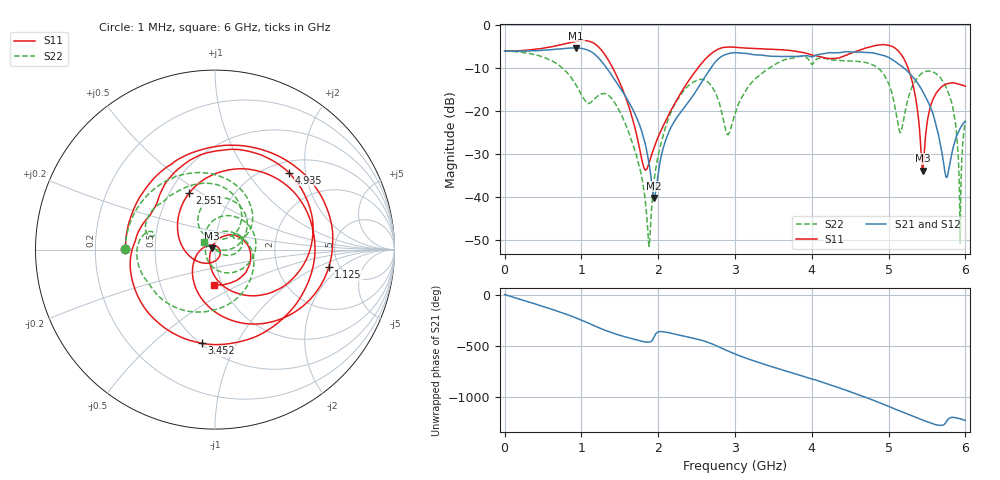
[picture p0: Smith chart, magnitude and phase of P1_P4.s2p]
! P1-P4  26-Dec-22  12:51:00
! Ref Plane: 0.000 mm
# MHZ S MA R  50
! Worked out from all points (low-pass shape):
!   10001 points, 1 MHz to 6 GHz, reference 50 ohm
!   highest |S21| = -5.30 dB at 934.4 MHz (marker M1); lowest = -40.3 dB at 1.948 GHz (marker M2)
!   |S21| within 3 dB of the highest: start of sweep to 1.258 GHz; 2.757 GHz to 5.071 GHz (2.313 GHz wide, 59.1 % of centre)
!   lowest |S11| = -33.9 dB at 5.443 GHz (marker M3), VSWR 1.04, Z = 48.2 + j0.717 ohm
!   |S11| at or under -10 dB: 1.411 GHz to 2.515 GHz (1.105 GHz wide, 56.3 % of centre); 5.254 GHz to end of sweep
!   |S22| runs from -51.5 to -6.0 dB; largest |S21 - S12| = 0.014
!   S11 on the Smith chart (normalised r, x): 1 MHz: 0.33, +0.00; 1.125 GHz: 4.09, -1.37; 2.551 GHz: 0.63, +0.45; 3.452 GHz: 0.51, -0.74; 4.935 GHz: 1.22, +1.62; 6 GHz: 0.92, -0.37
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1  0.5007 179.9  0.4999 -0.0  0.4997 -0.2  0.5 179.8
451.5249  0.5319 121.1  0.5074 -104.2  0.5081 -104.1  0.4402 102.8
934.4444  0.6505 40.9  0.5431 131.3  0.5448 131.4  0.1981 25.7
1001.033  0.6633 25.3  0.538 111.1  0.5397 111.0  0.1541 23.5
1125.213  0.6415 -8.9  0.4934 70.5  0.4944 70.3  0.1263 37.6
1539.144  0.1769 -135.3  0.1664 -45.4  0.1658 -45.4  0.08373 -22.4
1876.887  0.02401 11.8  0.02597 -103.9  0.02601 -103.7  0.00279 -89.7
1947.676  0.03755 -39.0  0.00968 -53.7  0.009638 -53.7  0.01554 164.2
2001.067  0.04994 -66.5  0.01902 -3.8  0.01906 -3.5  0.03068 151.2
2551.175  0.347 114.3  0.2061 -82.1  0.2032 -81.5  0.2336 26.6
3000.5  0.5545 -9.7  0.4789 140.6  0.487 141.3  0.09213 82.6
3451.625  0.527 -97.8  0.4366 23.5  0.4395 23.2  0.3185 -79.2
4000.533  0.4494 175.3  0.4275 -102.3  0.4301 -102.2  0.3493 165.9
4394.068  0.4288 136.8  0.4842 161.1  0.4853 161.2  0.3865 124.8
4664.623  0.5298 100.6  0.4843 88.2  0.4828 88.7  0.3727 97.2
4934.578  0.5948 46.1  0.4437 10.2  0.4392 10.2  0.2689 57.5
5000.567  0.583 29.0  0.4219 -10.4  0.4173 -9.7  0.2091 46.4
5155.341  0.4672 -19.1  0.3404 -57.2  0.3412 -56.2  0.05592 86.5
5443.293  0.0202 158.4  0.1698 -143.9  0.1721 -143.1  0.2789 94.7
5752.841  0.2061 -16.4  0.01687 -158.8  0.01691 -158.7  0.1856 25.5
5927.412  0.2036 -67.7  0.06149 -129.7  0.06168 -128.6  0.00559 15.4
6000  0.1945 -91.9  0.07526 -146.8  0.07613 -146.1  0.07784 142.9
